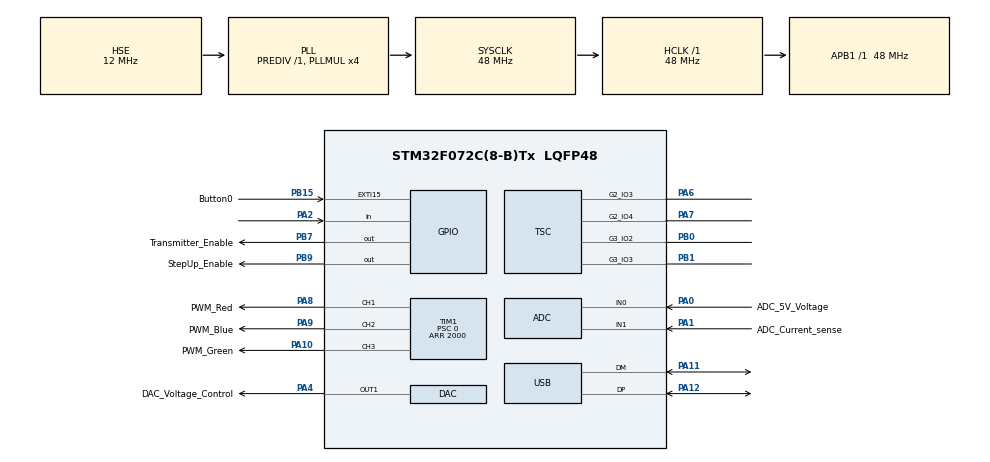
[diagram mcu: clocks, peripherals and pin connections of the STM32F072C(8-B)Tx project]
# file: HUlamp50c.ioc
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ADC.ClockPrescaler=ADC_CLOCK_SYNC_PCLK_DIV4
ADC.ContinuousConvMode=ENABLE
ADC.DMAContinuousRequests=ENABLE
ADC.ExternalTrigConv=ADC_SOFTWARE_START
ADC.SamplingTime=ADC_SAMPLETIME_239CYCLES_5
DAC.DAC_Trigger=DAC_TRIGGER_NONE
Dma.ADC.0.Direction=DMA_PERIPH_TO_MEMORY
Dma.ADC.0.Instance=DMA1_Channel1
Dma.ADC.0.MemDataAlignment=DMA_MDATAALIGN_WORD
Dma.ADC.0.MemInc=DMA_MINC_ENABLE
Dma.ADC.0.Mode=DMA_CIRCULAR
Dma.ADC.0.PeriphDataAlignment=DMA_PDATAALIGN_WORD
Dma.ADC.0.PeriphInc=DMA_PINC_DISABLE
Dma.ADC.0.Priority=DMA_PRIORITY_HIGH
Dma.Request0=ADC
IWDG.Prescaler=IWDG_PRESCALER_256
IWDG.Reload=900
IWDG.Window=900
Mcu.Family=STM32F0
Mcu.Name=STM32F072C(8-B)Tx
Mcu.Package=LQFP48
NVIC.DMA1_Channel1_IRQn=true\:1\:0\:true\:true\:true\:2\:false
NVIC.EXTI4_15_IRQn=true\:0\:0\:false\:false\:true\:true
NVIC.TIM2_IRQn=true\:2\:0\:true\:true\:true\:3\:true
NVIC.TIM7_IRQn=true\:2\:0\:true\:true\:true\:4\:true
NVIC.TSC_IRQn=true\:2\:0\:true\:true\:true\:1\:true
NVIC.USB_IRQn=true\:0\:0\:true\:false\:true\:false
PA0.GPIO_Label=ADC_5V_Voltage
PA0.Mode=IN0
PA0.Signal=ADC_IN0
PA1.GPIO_Label=ADC_Current_sense
PA1.Mode=IN1
PA1.Signal=ADC_IN1
PA10.GPIO_Label=PWM_Green
PA10.GPIO_Speed=GPIO_SPEED_FREQ_MEDIUM
PA10.Signal=S_TIM1_CH3
PA11.Mode=Device
PA11.Signal=USB_DM
PA12.Mode=Device
PA12.Signal=USB_DP
PA2.GPIO_PuPd=GPIO_PULLUP
PA2.Signal=GPIO_Input
PA4.GPIO_Label=DAC_Voltage_Control
PA4.Signal=COMP_DAC1_group
PA6.Mode=G2_IO3-Channel
PA6.Signal=TSC_G2_IO3
PA7.Mode=G2_IO4-Sampling
PA7.Signal=TSC_G2_IO4
PA8.GPIO_Label=PWM_Red
PA8.GPIO_Speed=GPIO_SPEED_FREQ_MEDIUM
PA8.Signal=S_TIM1_CH1
PA9.GPIO_Label=PWM_Blue
PA9.GPIO_Speed=GPIO_SPEED_FREQ_MEDIUM
PA9.Signal=S_TIM1_CH2
PB0.Mode=G3_IO2-Shield
PB0.Signal=TSC_G3_IO2
PB1.Mode=G3_IO3-Sampling
PB1.Signal=TSC_G3_IO3
PB15.GPIO_Label=Button0
PB15.GPIO_ModeDefaultEXTI=GPIO_MODE_IT_FALLING
PB15.GPIO_PuPd=GPIO_PULLUP
PB15.Signal=GPXTI15
PB7.GPIO_Label=Transmitter_Enable
PB7.GPIO_PuPd=GPIO_PULLDOWN
PB7.Signal=GPIO_Output
PB9.GPIO_Label=StepUp_Enable
PB9.GPIO_PuPd=GPIO_PULLDOWN
PB9.Signal=GPIO_Output
PF0-OSC_IN.Mode=HSE-External-Oscillator
PF0-OSC_IN.Signal=RCC_OSC_IN
PF1-OSC_OUT.Mode=HSE-External-Oscillator
PF1-OSC_OUT.Signal=RCC_OSC_OUT
ProjectManager.HeapSize=0xFD0
ProjectManager.StackSize=0xFD0
ProjectManager.TargetToolchain=TrueSTUDIO
RCC.AHBFreq_Value=48000000
RCC.APB1Freq_Value=48000000
RCC.APB1TimFreq_Value=48000000
RCC.HCLKFreq_Value=48000000
RCC.HSE_VALUE=12000000
RCC.PLLMUL=RCC_PLL_MUL4
RCC.PREFETCH_ENABLE=1
RCC.SYSCLKFreq_VALUE=48000000
RCC.SYSCLKSource=RCC_SYSCLKSOURCE_PLLCLK
RCC.USBClockSelection=RCC_USBCLKSOURCE_PLL
RCC.USBFreq_Value=48000000
SH.COMP_DAC1_group.0=DAC_OUT1,DAC_OUT1
SH.S_TIM1_CH1.0=TIM1_CH1,PWM Generation1 CH1
SH.S_TIM1_CH2.0=TIM1_CH2,PWM Generation2 CH2
SH.S_TIM1_CH3.0=TIM1_CH3,PWM Generation3 CH3
TIM1.Channel-PWM\ Generation1\ CH1=TIM_CHANNEL_1
TIM1.Channel-PWM\ Generation2\ CH2=TIM_CHANNEL_2
TIM1.Channel-PWM\ Generation3\ CH3=TIM_CHANNEL_3
TIM1.Period=2000
TIM1.Prescaler=0
TIM1.Pulse-PWM\ Generation1\ CH1=500
TIM1.Pulse-PWM\ Generation2\ CH2=500
TIM1.Pulse-PWM\ Generation3\ CH3=500
TIM2.Period=999
TIM2.Prescaler=47
TIM2.TIM_MasterOutputTrigger=TIM_TRGO_RESET
TIM7.Period=999
TIM7.Prescaler=47999
TOUCHSENSING.IO_TOUCHKEY1=G2_IO3
TOUCHSENSING.TSLPRM_SENSORS_DATAS=TSLPRM_TOTAL_TOUCHKEYS 1 1 
TOUCHSENSING.TSLPRM_TKEY_DETECT_IN_TH=140
TOUCHSENSING.TSLPRM_TKEY_DETECT_OUT_TH=120
TOUCHSENSING.TSLPRM_TOTAL_TOUCHKEYS=1
TSC.ChannelIOs-G2_IO3=TSC_GROUP2_IO3
TSC.SamplingIOs-G2_IO4=TSC_GROUP2_IO4
TSC.SamplingIOs-G3_IO3=TSC_GROUP3_IO3
TSC.ShieldIOs-G3_IO2=TSC_GROUP3_IO2
USB.ep0_mps=DEP0CTL_MPS_32
USB_DEVICE.APP_RX_DATA_SIZE=1000
USB_DEVICE.CLASS_NAME_FS=CDC
USB_DEVICE.PRODUCT_STRING_CDC_FS=HUlamp Virtual ComPort
USB_DEVICE.USBD_MAX_STR_DESC_SIZ=128
USB_DEVICE.USBD_SELF_POWERED=1
USB_DEVICE.VirtualMode=Cdc
USB_DEVICE.VirtualModeFS=Cdc_FS
VP_ADC_TempSens_Input.Mode=IN-TempSens
VP_ADC_Vref_Input.Mode=IN-Vrefint
VP_IWDG_VS_IWDG.Mode=IWDG_Activate
VP_TIM1_VS_ClockSourceINT.Mode=Internal
VP_TIM2_VS_ClockSourceINT.Mode=Internal
VP_TIM7_VS_ClockSourceINT.Mode=Enable_Timer
VP_TOUCHSENSING_VS_TOUCHSENSING.Mode=TouchSensing_Enabled
VP_USB_DEVICE_VS_USB_DEVICE_CDC_FS.Mode=CDC_FS
board=custom

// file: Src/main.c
/* USER CODE BEGIN Header */
/**
  ******************************************************************************
  * @file           : main.c
  * @brief          : Main program body
  ******************************************************************************
  * This notice applies to any and all portions of this file
  * that are not between comment pairs USER CODE BEGIN and
  * USER CODE END. Other portions of this file, whether
  * inserted by the user or by software development tools
  * are owned by their respective copyright owners.
  *
  * Copyright (c) 2019 STMicroelectronics International N.V.
  * All rights reserved.
  *
  * Redistribution and use in source and binary forms, with or without
  * modification, are permitted, provided that the following conditions are met:
  *
  * 1. Redistribution of source code must retain the above copyright notice,
  *    this list of conditions and the following disclaimer.
  * 2. Redistributions in binary form must reproduce the above copyright notice,
  *    this list of conditions and the following disclaimer in the documentation
  *    and/or other materials provided with the distribution.
  * 3. Neither the name of STMicroelectronics nor the names of other
  *    contributors to this software may be used to endorse or promote products
  *    derived from this software without specific written permission.
  * 4. This software, including modifications and/or derivative works of this
  *    software, must execute solely and exclusively on microcontroller or
  *    microprocessor devices manufactured by or for STMicroelectronics.
  * 5. Redistribution and use of this software other than as permitted under
  *    this license is void and will automatically terminate your rights under
  *    this license.
  *
  * THIS SOFTWARE IS PROVIDED BY STMICROELECTRONICS AND CONTRIBUTORS "AS IS"
  * AND ANY EXPRESS, IMPLIED OR STATUTORY WARRANTIES, INCLUDING, BUT NOT
  * LIMITED TO, THE IMPLIED WARRANTIES OF MERCHANTABILITY, FITNESS FOR A
  * PARTICULAR PURPOSE AND NON-INFRINGEMENT OF THIRD PARTY INTELLECTUAL PROPERTY
  * RIGHTS ARE DISCLAIMED TO THE FULLEST EXTENT PERMITTED BY LAW. IN NO EVENT
  * SHALL STMICROELECTRONICS OR CONTRIBUTORS BE LIABLE FOR ANY DIRECT, INDIRECT,
  * INCIDENTAL, SPECIAL, EXEMPLARY, OR CONSEQUENTIAL DAMAGES (INCLUDING, BUT NOT
  * LIMITED TO, PROCUREMENT OF SUBSTITUTE GOODS OR SERVICES; LOSS OF USE, DATA,
  * OR PROFITS; OR BUSINESS INTERRUPTION) HOWEVER CAUSED AND ON ANY THEORY OF
  * LIABILITY, WHETHER IN CONTRACT, STRICT LIABILITY, OR TORT (INCLUDING
  * NEGLIGENCE OR OTHERWISE) ARISING IN ANY WAY OUT OF THE USE OF THIS SOFTWARE,
  * EVEN IF ADVISED OF THE POSSIBILITY OF SUCH DAMAGE.
  *
  ******************************************************************************
  */
/* USER CODE END Header */

#include "main.h"
#include "touchsensing.h"
#include "usb_device.h"

/* USER CODE BEGIN Includes */
#include "usbd_cdc_if.h"
#include "usbd_core.h"
#include "eepromEx.h"
#include "backlight.h"
#include "memSave.h"
/* USER CODE END Includes */

/* USER CODE BEGIN PD */

#define PROGRAM_START_ADDR (uint32_t)0x08004000

#define ETX_AUTO_ENABLED_PART_START 10
#define ETX_AUTO_DISABLED_PART_START 210
#define ETX_AUTO_DISABLED_PART_END 310

#define IC_VDD 3.3
#define ADC_MAX_VALUE 0xFFF
#define VOLTS_PER_AMP 1.5
#define ADC_TO_CURRENT_VALUE_MULTIPLIER 1. / (float)ADC_MAX_VALUE * IC_VDD / VOLTS_PER_AMP
#define ETX_VOLTAGE_DAC_VALUE 0xFFF
#define VREF_VOLTAGE 1.23
#define PROTECTION_MIN_USB_VOLTAGE 3.4
#define PROTECTION_MIN_USB_VOLTAGE_BIN (uint32_t)((float)((uint32_t)1 << 18) * (float)(1. / 11.) / (float)VREF_VOLTAGE * (float)PROTECTION_MIN_USB_VOLTAGE )

#define TERMAL_PROTECTION_ON_TEMPERATURE 62
#define TERMAL_PROTECTION_OFF_TEMPERATURE 58

/* USER CODE END PD */

ADC_HandleTypeDef hadc;
DMA_HandleTypeDef hdma_adc;

DAC_HandleTypeDef hdac;

IWDG_HandleTypeDef hiwdg;

TIM_HandleTypeDef htim1;
TIM_HandleTypeDef htim2;
TIM_HandleTypeDef htim7;

TSC_HandleTypeDef htsc;

/* USER CODE BEGIN PV */

extern USBD_HandleTypeDef hUsbDeviceFS;

volatile uint32_t timer1k = 0;
volatile uint32_t timer1s = 0;

volatile uint32_t adc_data[4] = {1, 1, 1, 1};
volatile uint16_t adc_avgData[4] = {1, 1, 1, 1};
static uint32_t cc_sum = 0;
txControlType etxControl = Auto;
static uint8_t etxEnableCurrentState = 0;
static uint8_t termalProtectionState = 0;

float etxNoLoadCurrentMax = 0.5;

uint8_t calibrationMode = 0;
uint32_t calibrationOffTimer = 0;

uint8_t dataSendRequest = 0;
/* USER CODE END PV */

void SystemClock_Config(void);
static void MX_GPIO_Init(void);
static void MX_DMA_Init(void);
static void MX_ADC_Init(void);
static void MX_DAC_Init(void);
static void MX_TSC_Init(void);
static void MX_TIM1_Init(void);
static void MX_TIM2_Init(void);
static void MX_TIM7_Init(void);
static void MX_IWDG_Init(void);
static void MX_NVIC_Init(void);
/* USER CODE BEGIN PFP */
void etxEnable(uint8_t val);
/* USER CODE END PFP */

/* USER CODE BEGIN 0 */

volatile __IO uint32_t *VectorTable = (__IO uint32_t *)0x20000000;

void Remap_Table(void)
{
    // Copy interrupt vector table to the RAM.

    for(uint16_t i = 0; i < 48; i++)
    {
    	VectorTable[i] = *(__IO uint32_t *)(PROGRAM_START_ADDR + (i << 2));
    }

    __HAL_RCC_AHB_FORCE_RESET();

    //  Enable SYSCFG peripheral clock
    __HAL_RCC_SYSCFG_CLK_ENABLE();

    __HAL_RCC_AHB_RELEASE_RESET();

    // Remap RAM into 0x0000 0000
    __HAL_SYSCFG_REMAPMEMORY_SRAM();

    __enable_irq();
}

volatile uint8_t adcready = 0;
void HAL_ADC_ConvCpltCallback(ADC_HandleTypeDef* hadc)
{
	if (hadc->Instance == ADC1)
	{
		static uint16_t adcCounter = 0;
		static uint32_t adc_avgSum[4] = {0};
		for (uint8_t i = 0; i < 4; i++) adc_avgSum[i] += adc_data[i];
		if (adc_data[3] != 0)
			if ((((uint32_t)adc_data[0] << 18) / adc_data[3]) < PROTECTION_MIN_USB_VOLTAGE_BIN)
			{
				etxEnable(0);
				etxControl = Off;
			}
		cc_sum += adc_data[1];
		adcCounter++;
		if (adcCounter >= 1000)
		{
			for (uint8_t i = 0; i < 4; i++)
			{
				adc_avgData[i] = adc_avgSum[i] / adcCounter;
				adc_avgSum[i] = 0;
			}
			adcCounter = 0;
			adcready = 1;
		}
	}
}

void HAL_GPIO_EXTI_Callback(uint16_t GPIO_Pin)
{
	if (GPIO_Pin == Button0_Pin)
	{
		saveDefaultSettings();
		NVIC_SystemReset();
	}
}

static void toByteArray(const void *val, const void *byteArray, const uint8_t size)
{
	for (uint8_t i = 0; i < size; i++)
	{
		*((uint8_t *)byteArray + i) = *((uint8_t *)val + i);
	}
}

static float calcTemp(uint16_t adcVal)
{
	volatile uint16_t *TS_CAL1 = (__IO uint16_t *)(0x1FFFF7B8U);
	volatile uint16_t *TS_CAL2 = (__IO uint16_t *)(0x1FFFF7C2U);
	float vdd = 0xFFF / (float)adc_data[3] * VREF_VOLTAGE;
	float m = (3. / vdd);
	float cal1 = *TS_CAL1 * m;
	float cal2 = *TS_CAL2 * m;
	return ((float)(110 - 30)) / (cal2 - cal1) * (adcVal * m - cal1) + 30;
}

void etxEnable(uint8_t val)
{
	if (termalProtectionState) val = 0;
	else HAL_GPIO_WritePin(GPIOB, Transmitter_Enable_Pin, val);
	etxEnableCurrentState = val;
}

void setETXMode(txControlType mode)
{
	etxControl = mode;
}

void runCalibration()
{
	calibrationOffTimer = timer1k + 180000;
	etxNoLoadCurrentMax = 0.1;
	calibrationMode = 1;
}

void setCalibrationValue(const float value)
{
	etxNoLoadCurrentMax = value;
}

/* USER CODE END 0 */

int main(void)
{
  /* USER CODE BEGIN 1 */
	Remap_Table();
  /* USER CODE END 1 */

  /* MCU Configuration--------------------------------------------------------*/

  /* Reset of all peripherals, Initializes the Flash interface and the Systick. */
  HAL_Init();

  /* Configure the system clock */
  SystemClock_Config();

  /* USER CODE BEGIN SysInit */
  HAL_Delay(1000);
  /* USER CODE END SysInit */

  /* Initialize all configured peripherals */
  MX_GPIO_Init();
  MX_DMA_Init();
  MX_ADC_Init();
  MX_DAC_Init();
  MX_TSC_Init();
  MX_TIM1_Init();
  MX_TOUCHSENSING_Init();
  MX_USB_DEVICE_Init();
  MX_TIM2_Init();
  MX_TIM7_Init();
  MX_IWDG_Init();

  /* Initialize interrupts */
  MX_NVIC_Init();
  /* USER CODE BEGIN 2 */
  LEDEnable(1);
  initBacklightMode(DefaultPresetMode);
  HAL_FLASH_Unlock();
  EE_Init();
  HAL_FLASH_Lock();
  loadSettings();
  HAL_TIM_Base_Start_IT(&htim7);
  HAL_TIM_Base_Start_IT(&htim2);
  HAL_TIM_Base_Start(&htim1);

  HAL_TIM_PWM_Start(&htim1, PWM_CHANNEL_RED);
  HAL_TIM_PWM_Start(&htim1, PWM_CHANNEL_BLUE);
  HAL_TIM_PWM_Start(&htim1, PWM_CHANNEL_GREEN);
  HAL_ADCEx_Calibration_Start(&hadc);
  HAL_ADC_Start_DMA(&hadc, adc_data, 4);
  HAL_DAC_Start(&hdac, DAC_CHANNEL_1);

  etxEnable(0);

  /* USER CODE END 2 */

  /* Infinite loop */
  /* USER CODE BEGIN WHILE */
  for (uint32_t tick = 0; ; tick++)
  {
	  HAL_IWDG_Refresh(&hiwdg);
	  static uint8_t c = 0; //big magic
	  static uint32_t tmbu = 0; // период
	  if (tmbu < timer1k)
	  {
		  if ((tsl_user_Exec() != TSL_USER_STATUS_BUSY))
		  {
			  if (c == 0) setButtonPressDetectMode(0, 0, 0, 0);
			  if (!getLEDState()) LEDEnable(0);
			  if (MyTKeys[0].p_Data->StateId == TSL_STATEID_DETECT || MyTKeys[0].p_Data->StateId == TSL_STATEID_DEB_RELEASE_DETECT)
			  {
				  if (c < 100) c++;
				  if (c > 15)
				  {
					  float brt;
					  if (c < 20) brt = 0;
					  else if (c > 70) brt = 1.;
					  	  else brt = (c - 20) * 0.02;
					  setBrightnessMultiplier(brt);
				  }
				  setButtonPressDetectMode(1, 0, 2000 * brightnessMul, 2000 * brightnessMul);
			  }else
			  {
				  if ((c > 3) && (c < 15))
				  {
					  if (getLEDState())
					  {
						  LEDEnable(0);
						  saveInt(SAVE_ADDRESS_LED_ENABLE, 0);
						  setButtonPressDetectMode(1, 2000, 0, 0);
					  }else
					  {
						  LEDEnable(1);
						  saveInt(SAVE_ADDRESS_LED_ENABLE, 1);
						  setButtonPressDetectMode(1, 0, 2000, 0);
					  }
				  }else
				  {
					  if ((c > 15) && (c < 100)) saveFloat(SAVE_ADDRESS_LED_BRIGHTNESS_MULTIPLIER, brightnessMul);
					  else
					  {
						  if (c >= 100)
						  {
							  if (etxControl == Off)
							  {
								  etxControl = Auto;
								  etxEnable(1);
								  saveInt(SAVE_ADDRESS_ETX_MODE, etxControl);
								  setButtonPressDetectMode(1, 0, 2000, 0);
							  }else
							  {
								  etxControl = Off;
								  saveInt(SAVE_ADDRESS_ETX_MODE, etxControl);
								  etxEnable(0);
								  setButtonPressDetectMode(1, 2000, 0, 0);
							  }
						  }
					  }
				  }
				  c = 0;
			  }
		  }

		  tmbu = timer1k + 200;
	  }

	  static uint32_t tmtpu = 0;
	  if (tmtpu < timer1k)
	  {
		  static uint16_t step = 0;
		  if (etxControl != Off) //magic
		  {
			  if (step == 0)
			  {
				  HAL_DAC_SetValue(&hdac, DAC_CHANNEL_1, DAC_ALIGN_12B_R, 0xFFF);
				  etxEnable(1);
				  step = 1;
			  }else if (step <= 3)
			  {
				  if (etxControl != ContinuousLowPower) HAL_DAC_SetValue(&hdac, DAC_CHANNEL_1, DAC_ALIGN_12B_R, ETX_VOLTAGE_DAC_VALUE);
				  step++;
			  }else if (step == 4)
			  {
				  if (etxControl == Auto)
				  {
					  if (((float)adc_avgData[1] * ADC_TO_CURRENT_VALUE_MULTIPLIER) < etxNoLoadCurrentMax)
					  {
						  HAL_DAC_SetValue(&hdac, DAC_CHANNEL_1, DAC_ALIGN_12B_R, ETX_VOLTAGE_DAC_VALUE);
						  step = ETX_AUTO_DISABLED_PART_START;
					  }else
					  {
						  step = ETX_AUTO_ENABLED_PART_START;
					  }
				  }else step = 3;
			  }else
				  if ((step >= ETX_AUTO_DISABLED_PART_START) && (step < ETX_AUTO_DISABLED_PART_END))
				  {
					  step++;
					  if (etxEnableCurrentState && calibrationMode)
					  {
						  float v = (float)adc_avgData[1] * ADC_TO_CURRENT_VALUE_MULTIPLIER * 1.1;
						  if (v < etxNoLoadCurrentMax) etxNoLoadCurrentMax = v;
					  }
					  etxEnable(0);
				  }else
					  if ((step >= ETX_AUTO_ENABLED_PART_START) && (step < ETX_AUTO_DISABLED_PART_START))
					  {
						  step++;
						  float v = (float)adc_avgData[1] * ADC_TO_CURRENT_VALUE_MULTIPLIER;
						  if (v < etxNoLoadCurrentMax)
						  {
							  if (calibrationMode)
							  {
								  v *= 1.1;
								  if (v < etxNoLoadCurrentMax) etxNoLoadCurrentMax = v;
							  }
							  step = 4;
						  }
					  }else step = 0;
		  }else{ etxEnable(0); step = 0; }
		  if ((calibrationOffTimer < timer1k) && calibrationMode)
		  {
			  calibrationMode = 0;
			  saveFloat(SAVE_ADDRESS_ETX_CALIBRATION, etxNoLoadCurrentMax);
		  }
		  tmtpu = timer1k + 100;
	  }

	  if (adcready)
	  {
		  uint8_t str[24] = {0xFA, 0xFE};
		  float f = adc_avgData[1] / 4095. * 3.3 / 1.5;
		  toByteArray(&f, str + 2, sizeof(float)); //Average current
		  f = calcTemp(adc_avgData[2]);

		  //Выключение при превышении температуры
		  if (f > TERMAL_PROTECTION_ON_TEMPERATURE){ etxEnable(0); termalProtectionState = 1;}
		  if ((f < TERMAL_PROTECTION_OFF_TEMPERATURE) && termalProtectionState) termalProtectionState = 0;
		  //
		  toByteArray(&f, str + 6, sizeof(float)); //IC temp
		  str[10] = c; //sens button state
		  f = (float)adc_avgData[0] / adc_avgData[3] * VREF_VOLTAGE * 11;
		  toByteArray(&f, str + 11, sizeof(float));
		  str[15] = '\r';
		  str[16] = '\n';
		  for(uint32_t i = 0; (((USBD_CDC_HandleTypeDef*)(hUsbDeviceFS.pClassData))->TxState != 0) && (i < 1000); i++);
		  if (((USBD_CDC_HandleTypeDef*)(hUsbDeviceFS.pClassData))->TxState == 0) CDC_Transmit_FS(str, 17);

		  adcready = 0;

		  if (dataSendRequest)
		  {
			  uint8_t str[32] = {0xFB, 0xFE};
			  float f;
			  str[2] = etxControl;
			  f = etxNoLoadCurrentMax;
			  toByteArray(&f, str + 3, sizeof(float));
			  str[7] = getLEDState();
			  str[8] = backlight_mode;
			  f = backlight_data.rgb_red;
			  toByteArray(&f, str + 9, sizeof(float));
			  f = backlight_data.rgb_green;
			  toByteArray(&f, str + 13, sizeof(float));
			  f = backlight_data.rgb_blue;
			  toByteArray(&f, str + 17, sizeof(float));
			  f = backlight_data.brightness;
			  toByteArray(&f, str + 21, sizeof(float));
			  f = brightnessMul;
			  toByteArray(&f, str + 25, sizeof(float));
			  str[29] = '\r';
			  str[30] = '\n';
			  for(uint32_t i = 0; (((USBD_CDC_HandleTypeDef*)(hUsbDeviceFS.pClassData))->TxState != 0) && (i < 1000); i++);
			  if (((USBD_CDC_HandleTypeDef*)(hUsbDeviceFS.pClassData))->TxState == 0) CDC_Transmit_FS(str, 31);

			  dataSendRequest = 0;
		  }
	  }
	  if (adc_avgData[1] >= 0xdff)
	  {

	  }
    /* USER CODE END WHILE */

  }
}

void SystemClock_Config(void)
{
  RCC_OscInitTypeDef RCC_OscInitStruct = {0};
  RCC_ClkInitTypeDef RCC_ClkInitStruct = {0};
  RCC_PeriphCLKInitTypeDef PeriphClkInit = {0};

  /**Initializes the CPU, AHB and APB busses clocks
  */
  RCC_OscInitStruct.OscillatorType = RCC_OSCILLATORTYPE_LSI|RCC_OSCILLATORTYPE_HSE;
  RCC_OscInitStruct.HSEState = RCC_HSE_ON;
  RCC_OscInitStruct.LSIState = RCC_LSI_ON;
  RCC_OscInitStruct.PLL.PLLState = RCC_PLL_ON;
  RCC_OscInitStruct.PLL.PLLSource = RCC_PLLSOURCE_HSE;
  RCC_OscInitStruct.PLL.PLLMUL = RCC_PLL_MUL4;
  RCC_OscInitStruct.PLL.PREDIV = RCC_PREDIV_DIV1;
  if (HAL_RCC_OscConfig(&RCC_OscInitStruct) != HAL_OK)
  {
    Error_Handler();
  }
  /**Initializes the CPU, AHB and APB busses clocks
  */
  RCC_ClkInitStruct.ClockType = RCC_CLOCKTYPE_HCLK|RCC_CLOCKTYPE_SYSCLK
                              |RCC_CLOCKTYPE_PCLK1;
  RCC_ClkInitStruct.SYSCLKSource = RCC_SYSCLKSOURCE_PLLCLK;
  RCC_ClkInitStruct.AHBCLKDivider = RCC_SYSCLK_DIV1;
  RCC_ClkInitStruct.APB1CLKDivider = RCC_HCLK_DIV1;

  if (HAL_RCC_ClockConfig(&RCC_ClkInitStruct, FLASH_LATENCY_1) != HAL_OK)
  {
    Error_Handler();
  }
  PeriphClkInit.PeriphClockSelection = RCC_PERIPHCLK_USB;
  PeriphClkInit.UsbClockSelection = RCC_USBCLKSOURCE_PLL;

  if (HAL_RCCEx_PeriphCLKConfig(&PeriphClkInit) != HAL_OK)
  {
    Error_Handler();
  }
}

/**
  * @brief NVIC Configuration.
  * @retval None
  */
static void MX_NVIC_Init(void)
{
  /* TSC_IRQn interrupt configuration */
  HAL_NVIC_SetPriority(TSC_IRQn, 2, 0);
  HAL_NVIC_EnableIRQ(TSC_IRQn);
  /* DMA1_Channel1_IRQn interrupt configuration */
  HAL_NVIC_SetPriority(DMA1_Channel1_IRQn, 1, 0);
  HAL_NVIC_EnableIRQ(DMA1_Channel1_IRQn);
  /* TIM2_IRQn interrupt configuration */
  HAL_NVIC_SetPriority(TIM2_IRQn, 2, 0);
  HAL_NVIC_EnableIRQ(TIM2_IRQn);
  /* TIM7_IRQn interrupt configuration */
  HAL_NVIC_SetPriority(TIM7_IRQn, 2, 0);
  HAL_NVIC_EnableIRQ(TIM7_IRQn);
}

static void MX_ADC_Init(void)
{

  ADC_ChannelConfTypeDef sConfig = {0};

  /**Configure the global features of the ADC (Clock, Resolution, Data Alignment and number of conversion)
  */
  hadc.Instance = ADC1;
  hadc.Init.ClockPrescaler = ADC_CLOCK_SYNC_PCLK_DIV4;
  hadc.Init.Resolution = ADC_RESOLUTION_12B;
  hadc.Init.DataAlign = ADC_DATAALIGN_RIGHT;
  hadc.Init.ScanConvMode = ADC_SCAN_DIRECTION_FORWARD;
  hadc.Init.EOCSelection = ADC_EOC_SINGLE_CONV;
  hadc.Init.LowPowerAutoWait = DISABLE;
  hadc.Init.LowPowerAutoPowerOff = DISABLE;
  hadc.Init.ContinuousConvMode = ENABLE;
  hadc.Init.DiscontinuousConvMode = DISABLE;
  hadc.Init.ExternalTrigConv = ADC_SOFTWARE_START;
  hadc.Init.ExternalTrigConvEdge = ADC_EXTERNALTRIGCONVEDGE_NONE;
  hadc.Init.DMAContinuousRequests = ENABLE;
  hadc.Init.Overrun = ADC_OVR_DATA_PRESERVED;
  if (HAL_ADC_Init(&hadc) != HAL_OK)
  {
    Error_Handler();
  }
  /**Configure for the selected ADC regular channel to be converted.
  */
  sConfig.Channel = ADC_CHANNEL_0;
  sConfig.Rank = ADC_RANK_CHANNEL_NUMBER;
  sConfig.SamplingTime = ADC_SAMPLETIME_239CYCLES_5;
  if (HAL_ADC_ConfigChannel(&hadc, &sConfig) != HAL_OK)
  {
    Error_Handler();
  }
  /**Configure for the selected ADC regular channel to be converted.
  */
  sConfig.Channel = ADC_CHANNEL_1;
  if (HAL_ADC_ConfigChannel(&hadc, &sConfig) != HAL_OK)
  {
    Error_Handler();
  }
  /**Configure for the selected ADC regular channel to be converted.
  */
  sConfig.Channel = ADC_CHANNEL_TEMPSENSOR;
  if (HAL_ADC_ConfigChannel(&hadc, &sConfig) != HAL_OK)
  {
    Error_Handler();
  }
  /**Configure for the selected ADC regular channel to be converted.
  */
  sConfig.Channel = ADC_CHANNEL_VREFINT;
  if (HAL_ADC_ConfigChannel(&hadc, &sConfig) != HAL_OK)
  {
    Error_Handler();
  }

}

static void MX_DAC_Init(void)
{

  DAC_ChannelConfTypeDef sConfig = {0};

  /**DAC Initialization
  */
  hdac.Instance = DAC;
  if (HAL_DAC_Init(&hdac) != HAL_OK)
  {
    Error_Handler();
  }
  /**DAC channel OUT1 config
  */
  sConfig.DAC_Trigger = DAC_TRIGGER_NONE;
  sConfig.DAC_OutputBuffer = DAC_OUTPUTBUFFER_ENABLE;
  if (HAL_DAC_ConfigChannel(&hdac, &sConfig, DAC_CHANNEL_1) != HAL_OK)
  {
    Error_Handler();
  }

}

static void MX_IWDG_Init(void)
{

  hiwdg.Instance = IWDG;
  hiwdg.Init.Prescaler = IWDG_PRESCALER_256;
  hiwdg.Init.Window = 900;
  hiwdg.Init.Reload = 900;
  if (HAL_IWDG_Init(&hiwdg) != HAL_OK)
  {
    Error_Handler();
  }

}

static void MX_TIM1_Init(void)
{

  TIM_ClockConfigTypeDef sClockSourceConfig = {0};
  TIM_MasterConfigTypeDef sMasterConfig = {0};
  TIM_OC_InitTypeDef sConfigOC = {0};
  TIM_BreakDeadTimeConfigTypeDef sBreakDeadTimeConfig = {0};

  htim1.Instance = TIM1;
  htim1.Init.Prescaler = 0;
  htim1.Init.CounterMode = TIM_COUNTERMODE_UP;
  htim1.Init.Period = 2000;
  htim1.Init.ClockDivision = TIM_CLOCKDIVISION_DIV1;
  htim1.Init.RepetitionCounter = 0;
  htim1.Init.AutoReloadPreload = TIM_AUTORELOAD_PRELOAD_DISABLE;
  if (HAL_TIM_Base_Init(&htim1) != HAL_OK)
  {
    Error_Handler();
  }
  sClockSourceConfig.ClockSource = TIM_CLOCKSOURCE_INTERNAL;
  if (HAL_TIM_ConfigClockSource(&htim1, &sClockSourceConfig) != HAL_OK)
  {
    Error_Handler();
  }
  if (HAL_TIM_PWM_Init(&htim1) != HAL_OK)
  {
    Error_Handler();
  }
  sMasterConfig.MasterOutputTrigger = TIM_TRGO_RESET;
  sMasterConfig.MasterSlaveMode = TIM_MASTERSLAVEMODE_DISABLE;
  if (HAL_TIMEx_MasterConfigSynchronization(&htim1, &sMasterConfig) != HAL_OK)
  {
    Error_Handler();
  }
  sConfigOC.OCMode = TIM_OCMODE_PWM1;
  sConfigOC.Pulse = 500;
  sConfigOC.OCPolarity = TIM_OCPOLARITY_HIGH;
  sConfigOC.OCNPolarity = TIM_OCNPOLARITY_HIGH;
  sConfigOC.OCFastMode = TIM_OCFAST_DISABLE;
  sConfigOC.OCIdleState = TIM_OCIDLESTATE_RESET;
  sConfigOC.OCNIdleState = TIM_OCNIDLESTATE_RESET;
  if (HAL_TIM_PWM_ConfigChannel(&htim1, &sConfigOC, TIM_CHANNEL_1) != HAL_OK)
  {
    Error_Handler();
  }
  if (HAL_TIM_PWM_ConfigChannel(&htim1, &sConfigOC, TIM_CHANNEL_2) != HAL_OK)
  {
    Error_Handler();
  }
  if (HAL_TIM_PWM_ConfigChannel(&htim1, &sConfigOC, TIM_CHANNEL_3) != HAL_OK)
  {
    Error_Handler();
  }
  sBreakDeadTimeConfig.OffStateRunMode = TIM_OSSR_DISABLE;
  sBreakDeadTimeConfig.OffStateIDLEMode = TIM_OSSI_DISABLE;
  sBreakDeadTimeConfig.LockLevel = TIM_LOCKLEVEL_OFF;
  sBreakDeadTimeConfig.DeadTime = 0;
  sBreakDeadTimeConfig.BreakState = TIM_BREAK_DISABLE;
  sBreakDeadTimeConfig.BreakPolarity = TIM_BREAKPOLARITY_HIGH;
  sBreakDeadTimeConfig.AutomaticOutput = TIM_AUTOMATICOUTPUT_DISABLE;
  if (HAL_TIMEx_ConfigBreakDeadTime(&htim1, &sBreakDeadTimeConfig) != HAL_OK)
  {
    Error_Handler();
  }
  HAL_TIM_MspPostInit(&htim1);

}

static void MX_TIM2_Init(void)
{

  TIM_ClockConfigTypeDef sClockSourceConfig = {0};
  TIM_MasterConfigTypeDef sMasterConfig = {0};

  htim2.Instance = TIM2;
  htim2.Init.Prescaler = 47;
  htim2.Init.CounterMode = TIM_COUNTERMODE_UP;
  htim2.Init.Period = 999;
  htim2.Init.ClockDivision = TIM_CLOCKDIVISION_DIV1;
  htim2.Init.AutoReloadPreload = TIM_AUTORELOAD_PRELOAD_DISABLE;
  if (HAL_TIM_Base_Init(&htim2) != HAL_OK)
  {
    Error_Handler();
  }
  sClockSourceConfig.ClockSource = TIM_CLOCKSOURCE_INTERNAL;
  if (HAL_TIM_ConfigClockSource(&htim2, &sClockSourceConfig) != HAL_OK)
  {
    Error_Handler();
  }
  sMasterConfig.MasterOutputTrigger = TIM_TRGO_RESET;
  sMasterConfig.MasterSlaveMode = TIM_MASTERSLAVEMODE_DISABLE;
  if (HAL_TIMEx_MasterConfigSynchronization(&htim2, &sMasterConfig) != HAL_OK)
  {
    Error_Handler();
  }

}

static void MX_TIM7_Init(void)
{

  TIM_MasterConfigTypeDef sMasterConfig = {0};

  htim7.Instance = TIM7;
  htim7.Init.Prescaler = 47999;
  htim7.Init.CounterMode = TIM_COUNTERMODE_UP;
  htim7.Init.Period = 999;
  htim7.Init.AutoReloadPreload = TIM_AUTORELOAD_PRELOAD_DISABLE;
  if (HAL_TIM_Base_Init(&htim7) != HAL_OK)
  {
    Error_Handler();
  }
  sMasterConfig.MasterOutputTrigger = TIM_TRGO_RESET;
  sMasterConfig.MasterSlaveMode = TIM_MASTERSLAVEMODE_DISABLE;
  if (HAL_TIMEx_MasterConfigSynchronization(&htim7, &sMasterConfig) != HAL_OK)
  {
    Error_Handler();
  }

}

static void MX_TSC_Init(void)
{

  /**Configure the TSC peripheral
  */
  htsc.Instance = TSC;
  htsc.Init.CTPulseHighLength = TSC_CTPH_2CYCLES;
  htsc.Init.CTPulseLowLength = TSC_CTPL_2CYCLES;
  htsc.Init.SpreadSpectrum = DISABLE;
  htsc.Init.SpreadSpectrumDeviation = 1;
  htsc.Init.SpreadSpectrumPrescaler = TSC_SS_PRESC_DIV1;
  htsc.Init.PulseGeneratorPrescaler = TSC_PG_PRESC_DIV4;
  htsc.Init.MaxCountValue = TSC_MCV_8191;
  htsc.Init.IODefaultMode = TSC_IODEF_OUT_PP_LOW;
  htsc.Init.SynchroPinPolarity = TSC_SYNC_POLARITY_FALLING;
  htsc.Init.AcquisitionMode = TSC_ACQ_MODE_NORMAL;
  htsc.Init.MaxCountInterrupt = DISABLE;
  htsc.Init.ChannelIOs = TSC_GROUP2_IO3;
  htsc.Init.ShieldIOs = TSC_GROUP3_IO2;
  htsc.Init.SamplingIOs = TSC_GROUP2_IO4|TSC_GROUP3_IO3;
  if (HAL_TSC_Init(&htsc) != HAL_OK)
  {
    Error_Handler();
  }

}

static void MX_DMA_Init(void)
{
  /* DMA controller clock enable */
  __HAL_RCC_DMA1_CLK_ENABLE();

}

static void MX_GPIO_Init(void)
{
  GPIO_InitTypeDef GPIO_InitStruct = {0};

  /* GPIO Ports Clock Enable */
  __HAL_RCC_GPIOF_CLK_ENABLE();
  __HAL_RCC_GPIOA_CLK_ENABLE();
  __HAL_RCC_GPIOB_CLK_ENABLE();

  /*Configure GPIO pin Output Level */
  HAL_GPIO_WritePin(GPIOB, Transmitter_Enable_Pin|StepUp_Enable_Pin, GPIO_PIN_RESET);

  /*Configure GPIO pin : PA2 */
  GPIO_InitStruct.Pin = GPIO_PIN_2;
  GPIO_InitStruct.Mode = GPIO_MODE_INPUT;
  GPIO_InitStruct.Pull = GPIO_PULLUP;
  HAL_GPIO_Init(GPIOA, &GPIO_InitStruct);

  /*Configure GPIO pin : Button0_Pin */
  GPIO_InitStruct.Pin = Button0_Pin;
  GPIO_InitStruct.Mode = GPIO_MODE_IT_FALLING;
  GPIO_InitStruct.Pull = GPIO_PULLUP;
  HAL_GPIO_Init(Button0_GPIO_Port, &GPIO_InitStruct);

  /*Configure GPIO pins : Transmitter_Enable_Pin StepUp_Enable_Pin */
  GPIO_InitStruct.Pin = Transmitter_Enable_Pin|StepUp_Enable_Pin;
  GPIO_InitStruct.Mode = GPIO_MODE_OUTPUT_PP;
  GPIO_InitStruct.Pull = GPIO_PULLDOWN;
  GPIO_InitStruct.Speed = GPIO_SPEED_FREQ_LOW;
  HAL_GPIO_Init(GPIOB, &GPIO_InitStruct);

  /* EXTI interrupt init*/
  HAL_NVIC_SetPriority(EXTI4_15_IRQn, 0, 0);
  HAL_NVIC_EnableIRQ(EXTI4_15_IRQn);

}

void Error_Handler(void)
{
}

/************************ (C) COPYRIGHT STMicroelectronics *****END OF FILE****/
